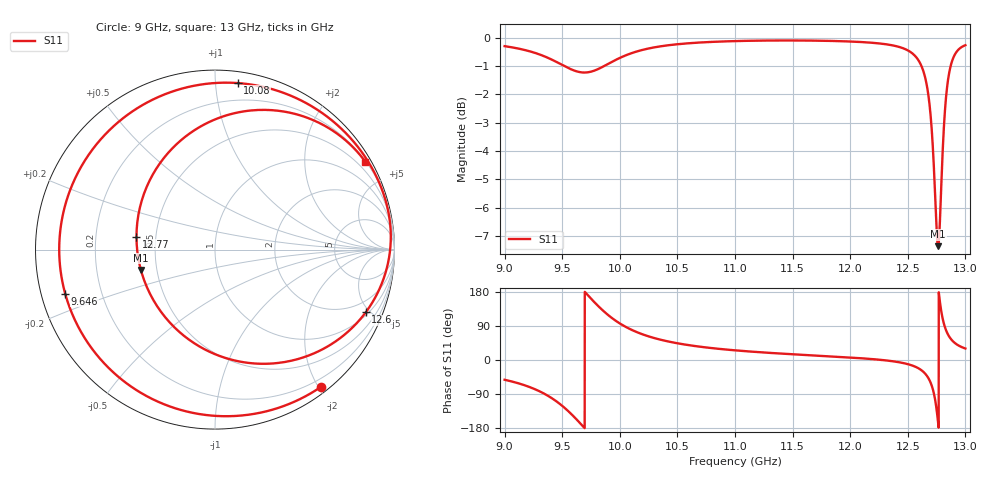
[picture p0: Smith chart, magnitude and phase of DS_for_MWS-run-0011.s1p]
! TOUCHSTONE file generated by CST DESIGN STUDIO
! Date and time: Tue Feb  4 16:06:26 2025
! Project name: C:\Work\MatlabApps\UnitCellOptimizationMatlab\CST\unitcell.cst
! Tree item: Tasks\Sweep1\SPara1\S-Parameters
! Header version: 2024
! Port assignment regex: !\s*Touchstone port\s*([0-9]+)\s*=\s*(CST MWS port|CST DES external port|CST DES block port)\s*(.+)\s* \(\"(.*)\"\)(\s*mode\s*([0-9]+))?.*
! Touchstone port assignment:
! Touchstone port 1 = CST DES external port 1 ("")
# GHz S MA R 50
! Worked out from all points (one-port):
!   4001 points, 9 GHz to 13 GHz, reference 50 ohm
!   lowest |S11| = -7.4 dB at 12.76 GHz (marker M1), VSWR 2.50, Z = 20.3 - j5.61 ohm
!   |S11| at or under -10 dB: nowhere
!   S11 on the Smith chart (normalised r, x): 9 GHz: 0.09, -2.04; 9.646 GHz: 0.07, -0.14; 10.08 GHz: 0.08, +1.14; 12.6 GHz: 1.17, -4.75; 12.77 GHz: 0.39, +0.07; 13 GHz: 0.22, +3.68
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9  0.9663 -52.1
9.259  0.9409 -76.5
9.395  0.9178 -97.9
9.5  0.8953 -120.9
9.646  0.87 -163.7
9.737  0.8699 166.2
9.838  0.8856 134.9
9.915  0.9028 114.6
10  0.9212 96.5
10.084  0.9364 82.3
10.269  0.959 60.5
10.5  0.9739 44.1
11  0.9865 25.5
11.5  0.989 15.1
12  0.9848 6.5
12.312  0.9738 -1.1
12.5  0.9499 -10.9
12.596  0.9099 -22.5
12.663  0.8283 -40.6
12.711  0.673 -70.6
12.737  0.5281 -104.3
12.763  0.4282 -164.7
12.772  0.4434 170.7
12.803  0.6315 108.7
12.834  0.7929 77.0
12.864  0.8768 59.7
12.899  0.9257 47.3
13  0.97 30.3
